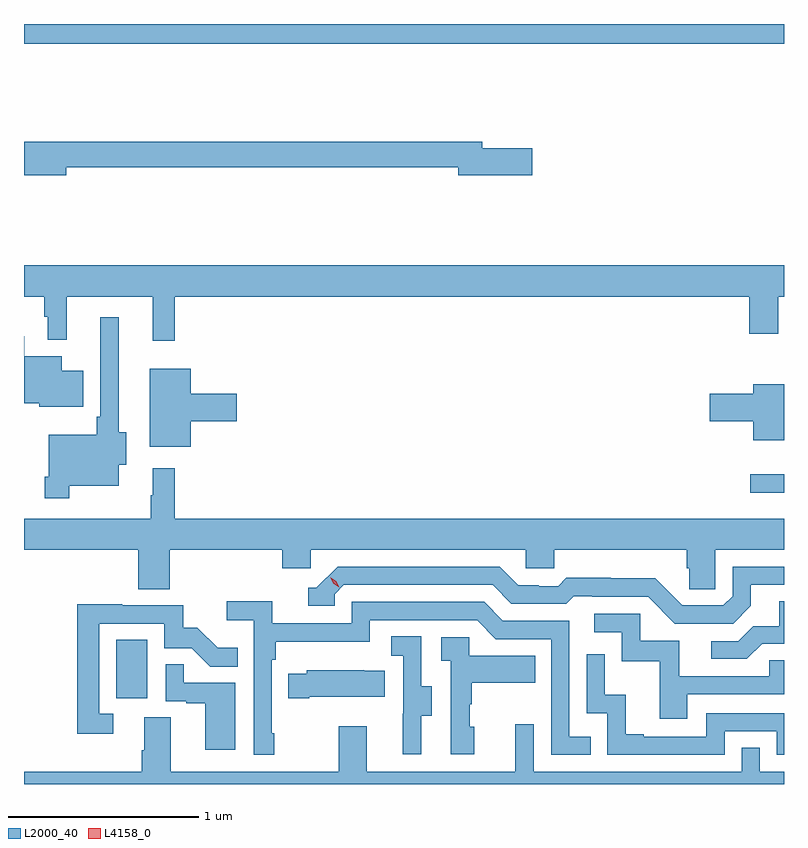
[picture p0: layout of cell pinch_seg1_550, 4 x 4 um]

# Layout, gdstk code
import gdstk
lib = gdstk.Library(unit=1e-6, precision=1e-09)
def R(c, l, rs):  # rectangles x0, y0, x1, y1
    for r in rs: c.add(gdstk.rectangle(r[:2], r[2:], *l))
def P(c, l, *ps):  # polygons
    for p in ps: c.add(gdstk.Polygon(p, *l))
L2000_40 = (2000, 40)
L4158_0 = (4158, 0)

pinch_seg1_550 = lib.new_cell('pinch_seg1_550')
R(pinch_seg1_550, L2000_40, [(1017.356,526.974,1017.52,527.281), (1020.693,528.056,1020.871,528.153), (1016.871,530.42,1020.871,530.523)])
P(pinch_seg1_550, L2000_40, [(1017.094,529.768),(1019.156,529.768),(1019.156,529.726),(1019.545,529.726),(1019.545,529.868),(1019.284,529.868),(1019.284,529.904),(1016.871,529.904),(1016.871,529.726),(1017.094,529.726)],
  [(1017.665,529.088),(1020.689,529.088),(1020.689,528.894),(1020.841,528.894),(1020.841,529.088),(1020.871,529.088),(1020.871,529.252),(1016.871,529.252),(1016.871,529.088),(1016.977,529.088),(1016.977,528.981),(1016.997,528.981),(1016.997,528.86),(1017.095,528.86),(1017.095,529.088),(1017.548,529.088),(1017.548,528.855),(1017.665,528.855)],
  [(1017.109,528.092),(1017.37,528.092),(1017.37,528.203),(1017.409,528.203),(1017.409,528.374),(1017.37,528.374),(1017.37,528.979),(1017.273,528.979),(1017.273,528.457),(1017.253,528.457),(1017.253,528.361),(1017,528.361),(1017,528.139),(1016.98,528.139),(1016.98,528.027),(1017.109,528.027)],
  [(1017.184,528.697),(1017.07,528.697),(1017.07,528.775),(1016.872,528.775),(1016.872,528.88),(1016.871,528.88),(1016.871,528.527),(1016.952,528.527),(1016.952,528.509),(1017.184,528.509)],
  [(1017.748,528.431),(1017.991,528.431),(1017.991,528.578),(1017.748,528.578),(1017.748,528.709),(1017.533,528.709),(1017.533,528.299),(1017.748,528.299)],
  [(1020.871,528.628),(1020.71,528.628),(1020.71,528.578),(1020.48,528.578),(1020.48,528.431),(1020.71,528.431),(1020.71,528.332),(1020.871,528.332)],
  [(1017.638,527.756),(1018.229,527.756),(1018.229,527.658),(1018.38,527.658),(1018.38,527.756),(1019.511,527.756),(1019.511,527.658),(1019.661,527.658),(1019.661,527.756),(1020.359,527.756),(1020.359,527.658),(1020.373,527.658),(1020.373,527.548),(1020.51,527.548),(1020.51,527.756),(1020.871,527.756),(1020.871,527.92),(1017.665,527.92),(1017.665,528.184),(1017.548,528.184),(1017.548,528.044),(1017.537,528.044),(1017.537,527.92),(1016.871,527.92),(1016.871,527.756),(1017.473,527.756),(1017.473,527.548),(1017.638,527.548)],
  [(1020.697,527.461),(1020.697,527.571),(1020.871,527.571),(1020.871,527.667),(1020.6,527.667),(1020.6,527.511),(1020.552,527.463),(1020.336,527.463),(1020.194,527.605),(1019.958,527.605),(1019.958,527.608),(1019.725,527.608),(1019.683,527.565),(1019.58,527.565),(1019.58,527.568),(1019.473,527.568),(1019.374,527.667),(1018.521,527.667),(1018.41,527.556),(1018.367,527.556),(1018.367,527.46),(1018.506,527.46),(1018.506,527.523),(1018.554,527.571),(1019.337,527.571),(1019.436,527.472),(1019.725,527.472),(1019.764,527.511),(1019.863,527.511),(1019.863,527.508),(1020.156,527.508),(1020.297,527.367),(1020.603,527.367)],
  [(1018.189,526.789),(1018.176,526.789),(1018.176,527.177),(1018.196,527.177),(1018.196,527.273),(1018.692,527.273),(1018.692,527.385),(1019.256,527.385),(1019.355,527.286),(1019.646,527.286),(1019.646,526.677),(1019.855,526.677),(1019.855,526.773),(1019.742,526.773),(1019.742,527.382),(1019.392,527.382),(1019.293,527.481),(1018.596,527.481),(1018.596,527.37),(1018.178,527.37),(1018.178,527.486),(1017.939,527.486),(1017.939,527.384),(1018.08,527.384),(1018.08,526.677),(1018.189,526.677)],
  [(1020.757,527.262),(1020.871,527.262),(1020.871,527.486),(1020.845,527.486),(1020.845,527.354),(1020.71,527.354),(1020.63,527.274),(1020.489,527.274),(1020.489,527.181),(1020.676,527.181)],
  [(1017.34,526.893),(1017.267,526.893),(1017.267,527.367),(1017.609,527.367),(1017.609,527.238),(1017.753,527.238),(1017.851,527.14),(1017.995,527.14),(1017.995,527.239),(1017.891,527.239),(1017.784,527.346),(1017.708,527.346),(1017.708,527.463),(1017.389,527.463),(1017.389,527.468),(1017.151,527.468),(1017.151,526.788),(1017.34,526.788)],
  [(1020.361,526.995),(1020.871,526.995),(1020.871,527.175),(1020.793,527.175),(1020.793,527.091),(1020.319,527.091),(1020.319,527.277),(1020.114,527.277),(1020.114,527.418),(1019.871,527.418),(1019.871,527.322),(1020.018,527.322),(1020.018,527.169),(1020.217,527.169),(1020.217,526.866),(1020.361,526.866)],
  [(1018.963,526.882),(1019.017,526.882),(1019.017,527.037),(1018.962,527.037),(1018.962,527.3),(1018.803,527.3),(1018.803,527.197),(1018.866,527.197),(1018.866,526.893),(1018.865,526.893),(1018.865,526.68),(1018.963,526.68)],
  [(1019.242,526.824),(1019.217,526.824),(1019.217,526.943),(1019.227,526.943),(1019.227,527.057),(1019.561,527.057),(1019.561,527.197),(1019.214,527.197),(1019.214,527.295),(1019.067,527.295),(1019.067,527.171),(1019.118,527.171),(1019.118,526.68),(1019.242,526.68)],
  [(1020.558,526.8),(1020.834,526.8),(1020.834,526.677),(1020.871,526.677),(1020.871,526.896),(1020.462,526.896),(1020.462,526.773),(1020.133,526.773),(1020.133,526.786),(1020.038,526.786),(1020.038,526.994),(1019.928,526.994),(1019.928,527.206),(1019.832,527.206),(1019.832,526.896),(1019.94,526.896),(1019.94,526.677),(1020.558,526.677)],
  [(1017.982,527.055),(1017.713,527.055),(1017.713,527.153),(1017.618,527.153),(1017.618,526.959),(1017.725,526.959),(1017.725,526.947),(1017.824,526.947),(1017.824,526.704),(1017.982,526.704)],
  [(1018.372,526.982),(1018.769,526.982),(1018.769,527.119),(1018.661,527.119),(1018.661,527.122),(1018.359,527.122),(1018.359,527.104),(1018.261,527.104),(1018.261,526.975),(1018.372,526.975)],
  [(1020.871,526.588),(1020.744,526.588),(1020.744,526.715),(1020.648,526.715),(1020.648,526.588),(1019.553,526.588),(1019.553,526.837),(1019.456,526.837),(1019.456,526.588),(1018.675,526.588),(1018.675,526.828),(1018.528,526.828),(1018.528,526.588),(1017.643,526.588),(1017.643,526.874),(1017.503,526.874),(1017.503,526.7),(1017.491,526.7),(1017.491,526.588),(1016.871,526.588),(1016.871,526.523),(1020.871,526.523)])
P(pinch_seg1_550, L4158_0, [(1018.53,527.558),(1018.5,527.577),(1018.484,527.61),(1018.484,527.61),(1018.484,527.61),(1018.515,527.59),(1018.531,527.558),(1018.531,527.558)])

lib.write_gds('pinch_seg1_550.gds')
